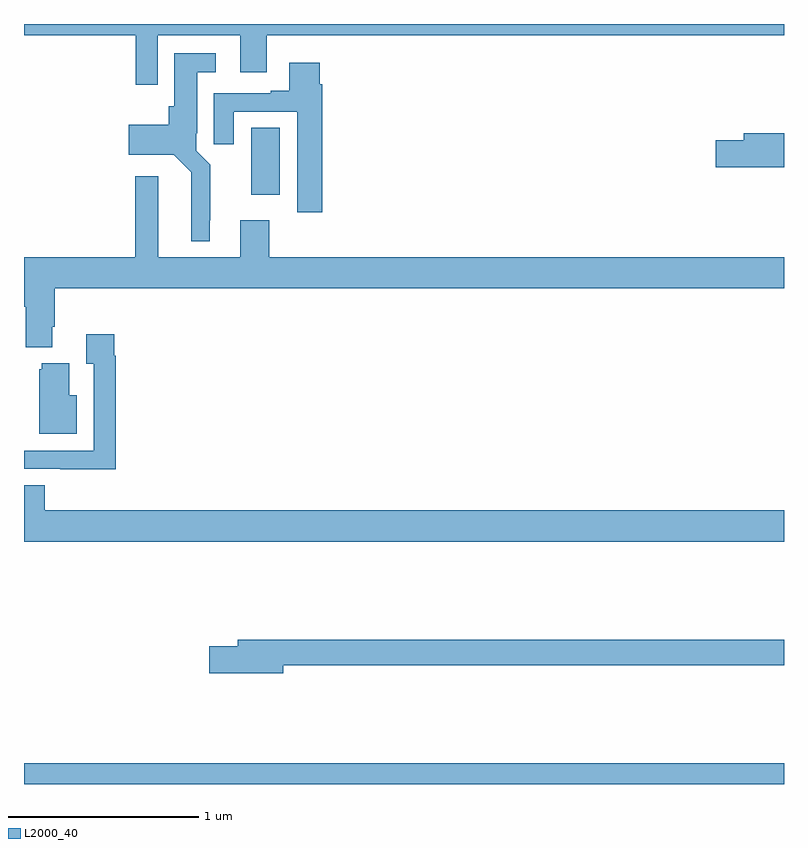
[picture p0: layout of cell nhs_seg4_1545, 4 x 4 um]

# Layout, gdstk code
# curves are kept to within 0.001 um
import gdstk
lib = gdstk.Library(unit=1e-6, precision=1e-09)
def R(c, l, rs):  # rectangles x0, y0, x1, y1
    for r in rs: c.add(gdstk.rectangle(r[:2], r[2:], *l))
def P(c, l, *ps):  # polygons
    for p in ps: c.add(gdstk.Polygon(p, *l))
L2000_40 = (2000, 40)

nhs_seg4_1545 = lib.new_cell('nhs_seg4_1545')
R(nhs_seg4_1545, L2000_40, [(191,772.9,195,773.008), (192.197,776.001,192.346,776.354)])
P(nhs_seg4_1545, L2000_40, [(192.137,776.646),(192.277,776.646),(192.277,776.84),(195,776.84),(195,776.9),(191,776.9),(191,776.84),(191.587,776.84),(191.587,776.58),(191.703,776.58),(191.703,776.84),(192.137,776.84)],
  [(191.977,775.867),(191.981,775.867),(191.981,776.158),(191.907,776.232),(191.907,776.326),(191.911,776.326),(191.911,776.645),(192.01,776.645),(192.01,776.746),(191.792,776.746),(191.792,776.466),(191.762,776.466),(191.762,776.371),(191.55,776.371),(191.55,776.213),(191.787,776.213),(191.88,776.12),(191.879,775.757),(191.977,775.757)],
  [(192.569,776.582),(192.556,776.582),(192.556,776.695),(192.395,776.695),(192.395,776.548),(192.299,776.548),(192.299,776.535),(191.999,776.535),(191.999,776.268),(192.103,776.268),(192.103,776.439),(192.437,776.439),(192.437,775.908),(192.569,775.908)],
  [(195,776.324),(194.789,776.324),(194.789,776.288),(194.64,776.288),(194.64,776.146),(195,776.146)],
  [(195,775.672),(192.29,775.672),(192.29,775.867),(192.137,775.867),(192.137,775.672),(191.707,775.672),(191.707,776.098),(191.585,776.098),(191.585,775.672),(191,775.672),(191,775.412),(191.009,775.412),(191.009,775.199),(191.149,775.199),(191.149,775.306),(191.162,775.306),(191.162,775.508),(195,775.508)],
  [(191.483,775.154),(191.476,775.154),(191.476,775.267),(191.327,775.267),(191.327,775.111),(191.367,775.111),(191.367,774.654),(191,774.654),(191,774.558),(191.191,774.558),(191.191,774.557),(191.483,774.557)],
  [(191.278,774.946),(191.239,774.946),(191.239,775.114),(191.093,775.114),(191.093,775.083),(191.081,775.083),(191.081,774.743),(191.278,774.743)],
  [(195,774.34),(191.108,774.34),(191.108,774.473),(191,774.473),(191,774.176),(195,774.176)],
  [(192.364,773.524),(195,773.524),(195,773.66),(192.125,773.66),(192.125,773.624),(191.976,773.624),(191.976,773.482),(192.364,773.482)])

lib.write_gds('nhs_seg4_1545.gds')
